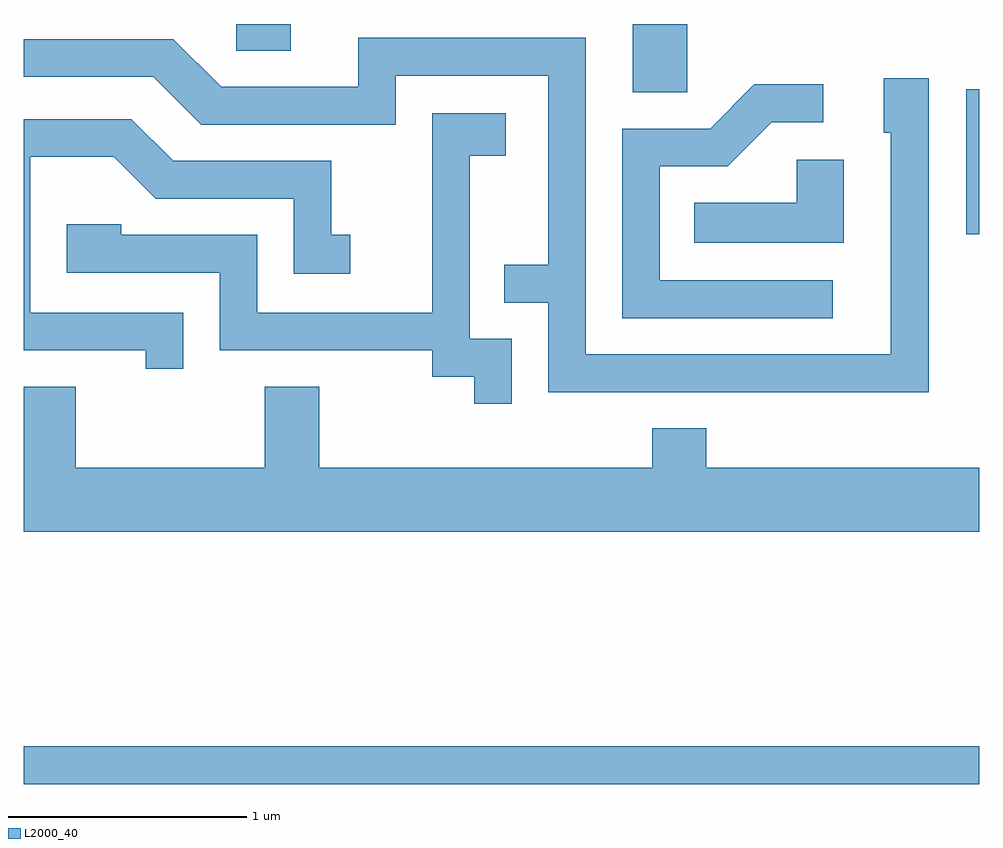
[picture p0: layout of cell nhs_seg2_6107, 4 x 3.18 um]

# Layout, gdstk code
import gdstk
lib = gdstk.Library(unit=1e-6, precision=1e-09)
def R(c, l, rs):  # rectangles x0, y0, x1, y1
    for r in rs: c.add(gdstk.rectangle(r[:2], r[2:], *l))
def P(c, l, *ps):  # polygons
    for p in ps: c.add(gdstk.Polygon(p, *l))
L2000_40 = (2000, 40)

nhs_seg2_6107 = lib.new_cell('nhs_seg2_6107')
R(nhs_seg2_6107, L2000_40, [(365.611,1020.621,369.611,1020.779), (369.556,1022.923,369.611,1023.529), (368.161,1023.516,368.389,1023.802), (366.501,1023.691,366.729,1023.802)])
P(nhs_seg2_6107, L2000_40, [(369.399,1023.574),(369.211,1023.574),(369.211,1023.346),(369.241,1023.346),(369.241,1022.419),(367.964,1022.419),(367.964,1023.744),(367.011,1023.744),(367.011,1023.539),(366.437,1023.539),(366.237,1023.739),(365.611,1023.739),(365.611,1023.581),(366.154,1023.581),(366.354,1023.381),(367.169,1023.381),(367.169,1023.586),(367.806,1023.586),(367.806,1022.794),(367.623,1022.794),(367.623,1022.636),(367.806,1022.636),(367.806,1022.261),(369.399,1022.261)],
  [(368.998,1022.729),(368.274,1022.729),(368.274,1023.206),(368.557,1023.206),(368.742,1023.391),(368.958,1023.391),(368.958,1023.549),(368.669,1023.549),(368.484,1023.364),(368.116,1023.364),(368.116,1022.571),(368.998,1022.571)],
  [(367.654,1022.484),(367.479,1022.484),(367.479,1023.251),(367.629,1023.251),(367.629,1023.429),(367.321,1023.429),(367.321,1022.594),(366.589,1022.594),(366.589,1022.919),(366.019,1022.919),(366.019,1022.964),(365.791,1022.964),(365.791,1022.761),(366.431,1022.761),(366.431,1022.436),(367.321,1022.436),(367.321,1022.326),(367.496,1022.326),(367.496,1022.213),(367.654,1022.213)],
  [(366.279,1022.594),(365.639,1022.594),(365.639,1023.246),(365.989,1023.246),(366.164,1023.071),(366.741,1023.071),(366.741,1022.756),(366.978,1022.756),(366.978,1022.919),(366.899,1022.919),(366.899,1023.229),(366.237,1023.229),(366.062,1023.404),(365.611,1023.404),(365.611,1022.436),(366.121,1022.436),(366.121,1022.358),(366.279,1022.358)],
  [(369.044,1023.234),(368.846,1023.234),(368.846,1023.054),(368.418,1023.054),(368.418,1022.886),(369.044,1022.886)],
  [(369.611,1021.944),(368.469,1021.944),(368.469,1022.109),(368.241,1022.109),(368.241,1021.944),(366.849,1021.944),(366.849,1022.284),(366.621,1022.284),(366.621,1021.944),(365.829,1021.944),(365.829,1022.284),(365.611,1022.284),(365.611,1021.676),(369.611,1021.676)])

lib.write_gds('nhs_seg2_6107.gds')
